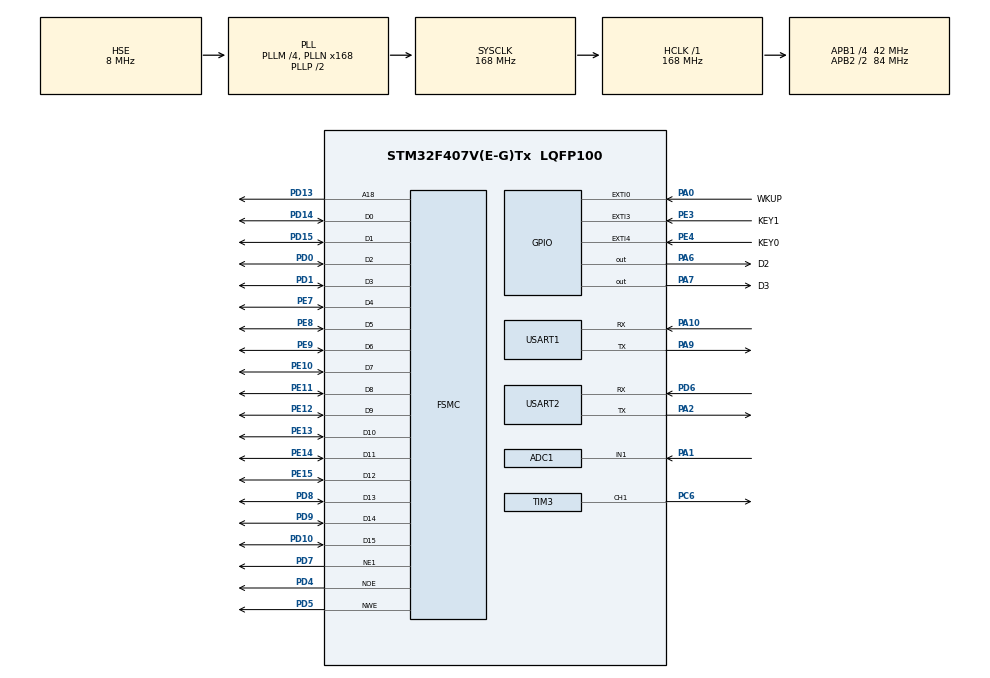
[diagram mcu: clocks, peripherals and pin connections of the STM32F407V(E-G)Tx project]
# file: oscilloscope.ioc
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ADC1.Channel-0\#ChannelRegularConversion=ADC_CHANNEL_1
ADC1.ContinuousConvMode=DISABLE
ADC1.DMAContinuousRequests=ENABLE
ADC1.DiscontinuousConvMode=DISABLE
ADC1.EOCSelection=ADC_EOC_SINGLE_CONV
ADC1.EnableAnalogWatchDog=true
ADC1.ExternalTrigConv=ADC_EXTERNALTRIGCONV_T2_TRGO
ADC1.HighThreshold=4095
ADC1.ITMode=ENABLE
ADC1.InjNumberOfConversion=0
ADC1.NbrOfConversion=1
ADC1.NbrOfConversionFlag=1
ADC1.Rank-0\#ChannelRegularConversion=1
ADC1.SamplingTime-0\#ChannelRegularConversion=ADC_SAMPLETIME_3CYCLES
ADC1.ScanConvMode=DISABLE
ADC1.WatchdogChannel=ADC_CHANNEL_1
ADC1.master=1
Dma.ADC1.1.Direction=DMA_PERIPH_TO_MEMORY
Dma.ADC1.1.FIFOMode=DMA_FIFOMODE_DISABLE
Dma.ADC1.1.Instance=DMA2_Stream0
Dma.ADC1.1.MemDataAlignment=DMA_MDATAALIGN_HALFWORD
Dma.ADC1.1.MemInc=DMA_MINC_ENABLE
Dma.ADC1.1.Mode=DMA_CIRCULAR
Dma.ADC1.1.PeriphDataAlignment=DMA_PDATAALIGN_HALFWORD
Dma.ADC1.1.PeriphInc=DMA_PINC_DISABLE
Dma.ADC1.1.Priority=DMA_PRIORITY_VERY_HIGH
Dma.Request0=TIM3_CH1/TRIG
Dma.Request1=ADC1
Dma.TIM3_CH1/TRIG.0.Direction=DMA_MEMORY_TO_PERIPH
Dma.TIM3_CH1/TRIG.0.FIFOMode=DMA_FIFOMODE_DISABLE
Dma.TIM3_CH1/TRIG.0.Instance=DMA1_Stream4
Dma.TIM3_CH1/TRIG.0.MemDataAlignment=DMA_MDATAALIGN_HALFWORD
Dma.TIM3_CH1/TRIG.0.MemInc=DMA_MINC_ENABLE
Dma.TIM3_CH1/TRIG.0.Mode=DMA_CIRCULAR
Dma.TIM3_CH1/TRIG.0.PeriphDataAlignment=DMA_PDATAALIGN_HALFWORD
Dma.TIM3_CH1/TRIG.0.PeriphInc=DMA_PINC_DISABLE
Dma.TIM3_CH1/TRIG.0.Priority=DMA_PRIORITY_LOW
Mcu.Family=STM32F4
Mcu.Name=STM32F407V(E-G)Tx
Mcu.Package=LQFP100
NVIC.ADC_IRQn=true\:1\:0\:true\:false\:true\:true\:true
NVIC.DMA1_Stream4_IRQn=true\:0\:0\:true\:false\:true\:false\:true
NVIC.DMA2_Stream0_IRQn=true\:1\:0\:true\:false\:true\:false\:true
NVIC.EXTI0_IRQn=true\:0\:0\:false\:false\:true\:true\:true
NVIC.EXTI3_IRQn=true\:0\:0\:false\:false\:true\:true\:true
NVIC.EXTI4_IRQn=true\:0\:0\:false\:false\:true\:true\:true
NVIC.PriorityGroup=NVIC_PRIORITYGROUP_2
NVIC.TIM2_IRQn=true\:1\:0\:true\:false\:true\:true\:true
NVIC.USART1_IRQn=true\:1\:0\:true\:false\:true\:true\:true
NVIC.USART2_IRQn=true\:1\:0\:true\:false\:true\:true\:true
PA0-WKUP.GPIO_Label=WKUP
PA0-WKUP.GPIO_PuPd=GPIO_PULLDOWN
PA0-WKUP.Signal=GPXTI0
PA1.Signal=ADCx_IN1
PA10.Mode=Asynchronous
PA10.Signal=USART1_RX
PA13.Mode=Serial_Wire
PA13.Signal=SYS_JTMS-SWDIO
PA14.Mode=Serial_Wire
PA14.Signal=SYS_JTCK-SWCLK
PA2.Mode=Asynchronous
PA2.Signal=USART2_TX
PA6.GPIO_Label=D2
PA6.Signal=GPIO_Output
PA7.GPIO_Label=D3
PA7.Signal=GPIO_Output
PA9.Mode=Asynchronous
PA9.Signal=USART1_TX
PC6.GPIO_PuPd=GPIO_PULLUP
PC6.GPIO_Speed=GPIO_SPEED_FREQ_HIGH
PC6.Signal=S_TIM3_CH1
PD0.Mode=16b-d1
PD0.Signal=FSMC_D2
PD1.Mode=16b-d1
PD1.Signal=FSMC_D3
PD10.Mode=16b-d1
PD10.Signal=FSMC_D15
PD13.Mode=A18_1
PD13.Signal=FSMC_A18
PD14.Mode=16b-d1
PD14.Signal=FSMC_D0
PD15.Mode=16b-d1
PD15.Signal=FSMC_D1
PD4.Mode=Lcd1
PD4.Signal=FSMC_NOE
PD5.Mode=Lcd1
PD5.Signal=FSMC_NWE
PD6.Mode=Asynchronous
PD6.Signal=USART2_RX
PD7.Mode=NorPsramChipSelect1_1
PD7.Signal=FSMC_NE1
PD8.Mode=16b-d1
PD8.Signal=FSMC_D13
PD9.Mode=16b-d1
PD9.Signal=FSMC_D14
PE10.Mode=16b-d1
PE10.Signal=FSMC_D7
PE11.Mode=16b-d1
PE11.Signal=FSMC_D8
PE12.Mode=16b-d1
PE12.Signal=FSMC_D9
PE13.Mode=16b-d1
PE13.Signal=FSMC_D10
PE14.Mode=16b-d1
PE14.Signal=FSMC_D11
PE15.Mode=16b-d1
PE15.Signal=FSMC_D12
PE3.GPIO_Label=KEY1
PE3.GPIO_PuPd=GPIO_PULLUP
PE3.Signal=GPXTI3
PE4.GPIO_Label=KEY0
PE4.GPIO_PuPd=GPIO_PULLUP
PE4.Signal=GPXTI4
PE7.Mode=16b-d1
PE7.Signal=FSMC_D4
PE8.Mode=16b-d1
PE8.Signal=FSMC_D5
PE9.Mode=16b-d1
PE9.Signal=FSMC_D6
PH0-OSC_IN.Mode=HSE-External-Oscillator
PH0-OSC_IN.Signal=RCC_OSC_IN
PH1-OSC_OUT.Mode=HSE-External-Oscillator
PH1-OSC_OUT.Signal=RCC_OSC_OUT
ProjectManager.HeapSize=0x200
ProjectManager.StackSize=0x400
ProjectManager.TargetToolchain=MDK-ARM V5.27
RCC.48MHZClocksFreq_Value=84000000
RCC.AHBFreq_Value=168000000
RCC.APB1CLKDivider=RCC_HCLK_DIV4
RCC.APB1Freq_Value=42000000
RCC.APB1TimFreq_Value=84000000
RCC.APB2CLKDivider=RCC_HCLK_DIV2
RCC.APB2Freq_Value=84000000
RCC.APB2TimFreq_Value=168000000
RCC.CortexFreq_Value=168000000
RCC.HCLKFreq_Value=168000000
RCC.HSE_VALUE=8000000
RCC.HSI_VALUE=16000000
RCC.LSE_VALUE=32768
RCC.PLLM=4
RCC.PLLN=168
RCC.PLLSourceVirtual=RCC_PLLSOURCE_HSE
RCC.SYSCLKFreq_VALUE=168000000
RCC.SYSCLKSource=RCC_SYSCLKSOURCE_PLLCLK
RCC.VCOOutputFreq_Value=336000000
SH.ADCx_IN1.0=ADC1_IN1,IN1
SH.S_TIM3_CH1.0=TIM3_CH1,PWM Generation1 CH1
TIM2.Period=32-1
TIM2.Prescaler=42-1
TIM2.TIM_MasterOutputTrigger=TIM_TRGO_UPDATE
TIM3.Channel-PWM\ Generation1\ CH1=TIM_CHANNEL_1
TIM3.OCPolarity_1=TIM_OCPOLARITY_HIGH
TIM3.Period=1000-1
TIM3.Prescaler=84-1
TIM3.Pulse-PWM\ Generation1\ CH1=100
TIM6.Prescaler=168-1
USART1.VirtualMode=VM_ASYNC
USART2.VirtualMode=VM_ASYNC
VP_TIM2_VS_ClockSourceINT.Mode=Internal
VP_TIM3_VS_ClockSourceINT.Mode=Internal
VP_TIM6_VS_ClockSourceINT.Mode=Enable_Timer
board=custom

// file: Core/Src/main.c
/* USER CODE BEGIN Header */
/**
  ******************************************************************************
  * @file           : main.c
  * @brief          : Main program body
  ******************************************************************************
  * @attention
  *
  * <h2><center>&copy; Copyright (c) 2021 STMicroelectronics.
  * All rights reserved.</center></h2>
  *
  * This software component is licensed by ST under BSD 3-Clause license,
  * the "License"; You may not use this file except in compliance with the
  * License. You may obtain a copy of the License at:
  *                        opensource.org/licenses/BSD-3-Clause
  *
  ******************************************************************************
  */
/* USER CODE END Header */
#include "main.h"
#include "adc.h"
#include "dma.h"
#include "tim.h"
#include "usart.h"
#include "gpio.h"
#include "fsmc.h"

/* USER CODE BEGIN Includes */
#include "stdio.h"
#include "string.h"
#include "fsmc.h"
#include "arm_math.h"                  //添加头文件
/* USER CODE END Includes */

/* USER CODE BEGIN PTD */
#define BYTE0(dwTemp)       ( *( (char *)(&dwTemp)	  ) )
#define BYTE1(dwTemp)       ( *( (char *)(&dwTemp) + 1) )
#define BYTE2(dwTemp)       ( *( (char *)(&dwTemp) + 2) )
#define BYTE3(dwTemp)       ( *( (char *)(&dwTemp) + 3) )

#define  FFT_LENGTH        1024        //FFT长度，默认是1024点FFT
#define  SAMPLE_FREQ       1024        //采样频率

uint8_t testdatatosend[50];
void TestSendData(uint8_t *dataToSend , uint8_t length);
void Test_Send_User(uint16_t data1, uint16_t data2, uint16_t data3,uint16_t data4,uint16_t data5,uint16_t data6,uint16_t data7,uint16_t data8,uint16_t data9,uint16_t data10)	;

void ENDSend(uint8_t k);

void adc_line(void);
void adc_line_clean(void);

float Get_vpp(u16 *buf);	   //获取峰峰值
/* USER CODE END PTD */

/* USER CODE BEGIN PM */
uint8_t aRxBuffer; //接收中断缓冲

//usart1发送和接收数组
uint8_t usart1_txbuf[256];
uint8_t usart1_rxbuf[512];
uint8_t usart1_rxone[1];
uint8_t usart1_rxcounter;

uint16_t adcBuf[2]={0,0};    //ad的值
float adcvcc[2];
int i;

int j;

uint16_t data[40]={500,500,500,500};

__IO uint16_t ADC_ConvertedValue[1024];
__IO float ADC_Volt;

float ADC_Value[1024] ;

u32 max_data=2048; //触发电平
vu32 temp=0; //频率输出
float vpp=0;
int freq=0;
int timeshow=500;
u8  Vpp_buff[20] = {0};//sprintf数据输出
u8  freq_buff[20] = {0};//sprintf数据输出
u8  time_buff[20] = {0};//sprintf数据输出
int time_flag=0;
int once=0;

int mode1=1;     //0 stop   1 run
int mode2=1;     //0 down    1 up
int mode3=115;   //触发电平
int mode4=2;    //0 auto   1once  2pt
int mode5=0;   //垂直位移
int mode6=0;    //0 DC 1 AC 2 GND

float timebase=32;
int time_i=6;     //时基计数

extern int key0,key1,key2;
/* USER CODE END PM */

void SystemClock_Config(void);

int main(void)
{
  /* USER CODE BEGIN 1 */
  u8 x=0;
	u8 lcd_id[12];				//存放LCD ID字符串
  /* USER CODE END 1 */

  /* MCU Configuration--------------------------------------------------------*/

  /* Reset of all peripherals, Initializes the Flash interface and the Systick. */
  HAL_Init();

  /* Configure the system clock */
  SystemClock_Config();

  /* Initialize all configured peripherals */
  MX_GPIO_Init();
  MX_DMA_Init();
  MX_USART1_UART_Init();
  MX_USART2_UART_Init();
  MX_ADC1_Init();
  MX_TIM3_Init();
  MX_FSMC_Init();
  MX_TIM6_Init();
  MX_TIM2_Init();
  /* USER CODE BEGIN 2 */
	HAL_UART_Receive_IT(&huart1, (uint8_t *)&aRxBuffer, 1);
	HAL_GPIO_WritePin(GPIOA,GPIO_PIN_6,GPIO_PIN_SET);

	 TFTLCD_Init();
	LCD_Clear(BLACK);
	Lcd_DrawNetwork();

	BACK_COLOR=BLACK;
	LCD_ShowString_COLOR(0,226,120,12,12,"Time:",WHITE);
	LCD_ShowString_COLOR(80,226,120,12,12,"V= 1v",WHITE);
	LCD_ShowString_COLOR(120,226,120,12,12,"Freq:",WHITE);
	LCD_ShowString(200,226,120,12,12,"Vpp:");

	BACK_COLOR=GRAYBLUE;
	LCD_ShowString_COLOR(295,15,200,12,12," run",GREEN);
	LCD_ShowString_COLOR(295,55,200,12,12,"rise",BLACK);
	LCD_ShowString_COLOR(295,95,200,12,12,"trig",BLACK);
	LCD_ShowString_COLOR(295,135,200,12,12," nor",BLACK);
	LCD_ShowString_COLOR(295,175,200,12,12,"move",BLACK);
	LCD_ShowString_COLOR(295,215,200,12,12,"DC",BLACK);
	 BACK_COLOR=GREEN;
	 LCD_ShowString_COLOR(289,mode3-5,200,12,12,"<",BLACK);
	 LCD_DrawLine_color(0,mode3,288,mode3,GREEN);

	 LCD_DrawLine_color(0,mode5+120,288,mode5+120,LIGHTBLUE);

	LCD_DrawLine_color(295,30,320,30,GREEN);
  //printf("ok\r\n");
	//HAL_TIM_Base_Start(&htim2);//打开定时器
//	HAL_TIM_Base_Start_IT(&htim2);//打开定时器中断

	  HAL_TIM_OC_Start_DMA(&htim3,TIM_CHANNEL_1,(uint32_t*)data,4);
		HAL_TIM_Base_Start(&htim2);
  	HAL_ADC_Start_DMA(&hadc1, (uint32_t*)&ADC_ConvertedValue, 1024);

	sprintf((char*)lcd_id,"LCD ID:%04X",lcddev.id);//将LCD ID打印到lcd_id数组。

  int i,j=0;
  /* USER CODE END 2 */

  /* Infinite loop */
  while (1)
  {

    /* USER CODE BEGIN 3 */
//		//匿名上位机+HMI串口屏
//		for(j=0;j<20;j++)
//		{printf("add 2,0,255");
//		ENDSend(0xff);
//		Test_Send_User(1,2,3,4,5,6,7,8,9,10);
//    HAL_Delay(50);
//		}
//		for(j=0;j<20;j++)
//		{printf("add 2,0,100");
//		ENDSend(0xff);
//		Test_Send_User(1,2,3,4,5,6,7,8,9,10);
//    HAL_Delay(50);
//		}

//	//adc测试代码
//	for(i=0;i<2;i++)
//  {
//		HAL_ADC_Start(&hadc1);
//    HAL_ADC_PollForConversion(&hadc1,0xffff);
//    adcBuf[i]=HAL_ADC_GetValue(&hadc1);
//		adcvcc[i]=adcBuf[i]*3.3f/4096;
//    printf("------ch:%d--%.2f-------\r\n",i,adcvcc[i]);
//   }
//	 HAL_ADC_Stop(&hadc1);
//	 HAL_Delay(1);
     vpp=Get_vpp(ADC_ConvertedValue);
     BACK_COLOR=BLACK;
     sprintf((char*)Vpp_buff,"Vpp:%0.3fV",vpp);
     LCD_ShowString_COLOR(200,226,120,12,12,Vpp_buff,WHITE);

		 sprintf((char*)freq_buff,"Freq:%6dHz",freq);
     LCD_ShowString_COLOR(120,226,120,12,12,freq_buff,WHITE);

		 sprintf((char*)time_buff,"Time:%5dus/div",timeshow);
		 LCD_ShowString_COLOR(0,226,120,12,12,time_buff,WHITE);

     if(key0%6==1&&key1==1)
		 {
			 if(mode1==1)
			 {
					BACK_COLOR=GRAYBLUE;
					LCD_ShowString_COLOR(295,15,200,12,12,"stop",RED);
					mode1=0;
			 }
			 else
			 {
					BACK_COLOR=GRAYBLUE;
					LCD_ShowString_COLOR(295,15,200,12,12," run",GREEN);
				  Lcd_DrawNetwork();
					mode1=1;
			 }
			 key1=0;
		 }

  }
  /* USER CODE END 3 */
}

void SystemClock_Config(void)
{
  RCC_OscInitTypeDef RCC_OscInitStruct = {0};
  RCC_ClkInitTypeDef RCC_ClkInitStruct = {0};

  /** Configure the main internal regulator output voltage
  */
  __HAL_RCC_PWR_CLK_ENABLE();
  __HAL_PWR_VOLTAGESCALING_CONFIG(PWR_REGULATOR_VOLTAGE_SCALE1);
  /** Initializes the RCC Oscillators according to the specified parameters
  * in the RCC_OscInitTypeDef structure.
  */
  RCC_OscInitStruct.OscillatorType = RCC_OSCILLATORTYPE_HSE;
  RCC_OscInitStruct.HSEState = RCC_HSE_ON;
  RCC_OscInitStruct.PLL.PLLState = RCC_PLL_ON;
  RCC_OscInitStruct.PLL.PLLSource = RCC_PLLSOURCE_HSE;
  RCC_OscInitStruct.PLL.PLLM = 4;
  RCC_OscInitStruct.PLL.PLLN = 168;
  RCC_OscInitStruct.PLL.PLLP = RCC_PLLP_DIV2;
  RCC_OscInitStruct.PLL.PLLQ = 4;
  if (HAL_RCC_OscConfig(&RCC_OscInitStruct) != HAL_OK)
  {
    Error_Handler();
  }
  /** Initializes the CPU, AHB and APB buses clocks
  */
  RCC_ClkInitStruct.ClockType = RCC_CLOCKTYPE_HCLK|RCC_CLOCKTYPE_SYSCLK
                              |RCC_CLOCKTYPE_PCLK1|RCC_CLOCKTYPE_PCLK2;
  RCC_ClkInitStruct.SYSCLKSource = RCC_SYSCLKSOURCE_PLLCLK;
  RCC_ClkInitStruct.AHBCLKDivider = RCC_SYSCLK_DIV1;
  RCC_ClkInitStruct.APB1CLKDivider = RCC_HCLK_DIV4;
  RCC_ClkInitStruct.APB2CLKDivider = RCC_HCLK_DIV2;

  if (HAL_RCC_ClockConfig(&RCC_ClkInitStruct, FLASH_LATENCY_5) != HAL_OK)
  {
    Error_Handler();
  }
}

/* USER CODE BEGIN 4 */
void TestSendData(uint8_t *dataToSend , uint8_t length)
{
	HAL_UART_Transmit(&huart2, (uint8_t *)&testdatatosend, length, 0xffff);
}

void Test_Send_User(uint16_t data1, uint16_t data2, uint16_t data3,uint16_t data4,uint16_t data5,uint16_t data6,uint16_t data7,uint16_t data8,uint16_t data9,uint16_t data10)
{
	uint8_t _cnt=0;

	testdatatosend[_cnt++]=0xAA;
	testdatatosend[_cnt++]=0x05;
	testdatatosend[_cnt++]=0xAF;
	testdatatosend[_cnt++]=0xF1;
	testdatatosend[_cnt++]=0;

	testdatatosend[_cnt++]=BYTE1(data1);
	testdatatosend[_cnt++]=BYTE0(data1);

	testdatatosend[_cnt++]=BYTE1(data2);
	testdatatosend[_cnt++]=BYTE0(data2);

	testdatatosend[_cnt++]=BYTE1(data3);
	testdatatosend[_cnt++]=BYTE0(data3);

	testdatatosend[_cnt++]=BYTE1(data4);
	testdatatosend[_cnt++]=BYTE0(data4);

	testdatatosend[_cnt++]=BYTE1(data5);
	testdatatosend[_cnt++]=BYTE0(data5);

	testdatatosend[_cnt++]=BYTE1(data6);
	testdatatosend[_cnt++]=BYTE0(data6);

	testdatatosend[_cnt++]=BYTE1(data7);
	testdatatosend[_cnt++]=BYTE0(data7);

	testdatatosend[_cnt++]=BYTE1(data8);
	testdatatosend[_cnt++]=BYTE0(data8);

	testdatatosend[_cnt++]=BYTE1(data9);
	testdatatosend[_cnt++]=BYTE0(data9);

	testdatatosend[_cnt++]=BYTE1(data10);
	testdatatosend[_cnt++]=BYTE0(data10);

	testdatatosend[4] = _cnt-5;

	uint8_t sum = 0;
	for(uint8_t i=0;i<_cnt;i++)
		sum += testdatatosend[i];

	testdatatosend[_cnt++]=sum;

	TestSendData(testdatatosend, _cnt);
}

void ENDSend(uint8_t k)           //字节发送函数
{
    uint8_t i;
    for(i=0;i<3;i++)
    {
           if(k!=0)
          {
           HAL_UART_Transmit(&huart1,&k,1,1000);    //发送一个字节
           HAL_Delay(10);
           while((__HAL_UART_GET_FLAG(&huart1,UART_FLAG_TXE)==RESET)){};   //等待发送结束
           HAL_Delay(10);
           }
    }
}

void HAL_UART_RxCpltCallback(UART_HandleTypeDef *huart)
{
	if(huart->Instance == USART1)	// 判断是由哪个串口触发的中断
	{
		//将接收到的数据放入接收usart1接收数组
		usart1_rxbuf[usart1_rxcounter] = usart1_rxone[0];
		usart1_rxcounter++;	//接收数量＋1
		if(usart1_rxone[0]==0x30)
		{
		  HAL_GPIO_WritePin(GPIOA,GPIO_PIN_6,GPIO_PIN_SET);
		}
		if(usart1_rxone[0]==0x31)
		{
		  HAL_GPIO_WritePin(GPIOA,GPIO_PIN_6,GPIO_PIN_RESET);
		}
		//重新使能串口1接收中断
		HAL_UART_Receive_IT(&huart1,usart1_rxone,1);
	}
}

void adc_line()
{
	static u16 Ypos1 = 0,Ypos2 = 0;
	static vu32 min_data=0;//buf[1];
	static vu32 n=0,con_t=0,con_t1=0;
   static	u16 i = 0,y=0,t=0;
	POINT_COLOR = RED;
	  for(n = 0;n<1024;n++)
      {
         if(ADC_ConvertedValue[n] > max_data&&ADC_ConvertedValue[n+3] < max_data)
         {
            con_t=n;
            break;
         }
      }
      for(n = con_t+3;n<1024;n++)
      {
         if(ADC_ConvertedValue[n] > max_data&&ADC_ConvertedValue[n+3] < max_data)
         {
            con_t1=n;
            break;
         }
      }
      temp=con_t1- con_t;
			freq=(temp*timebase)*0.5;

		 if(key0%6==2&&key1==1)
		 {
		    if(mode2==1)
			 {
					BACK_COLOR=GRAYBLUE;
					LCD_ShowString_COLOR(295,55,200,12,12,"down",BLACK);
					mode2=0;
			 }
			 else
			 {
					BACK_COLOR=GRAYBLUE;
					LCD_ShowString_COLOR(295,55,200,12,12,"rise",BLACK);
					mode2=1;
			 }
			 key1=0;
		 }
		 else if(key0%6==4&&key1==1)
		 {
		    if(mode4==0)
				{
				   BACK_COLOR=GRAYBLUE;
					 LCD_ShowString_COLOR(295,135,200,12,12,"once",BLACK);
					 mode4=1;
				}
				else if(mode4==1)
				{
				   BACK_COLOR=GRAYBLUE;
					 LCD_ShowString_COLOR(295,135,200,12,12," nor",BLACK);
					 mode4=2;
				}
				else
				{
					 BACK_COLOR=GRAYBLUE;
					 LCD_ShowString_COLOR(295,135,200,12,12,"auto",BLACK);
					 mode4=0;

				}
		    key1=0;
		 }
			else if(key0%6==0)
     {
			  if(time_flag==0)
				{
		     time_i=key1-key2+6;
			   if(time_i==1)
				 {
				    timebase=0.64;
					 TIM2->ARR = timebase - 1;
					  timeshow=10;
				 }
				 else if(time_i==2)
				 {
				    timebase=1.28;
					 TIM2->ARR = timebase - 1;
					 timeshow=20;
				 }
				 else if(time_i==3)
				 {
				    timebase=3.2;
					 TIM2->ARR = timebase - 1;
					 timeshow=50;
				 }
				 else if(time_i==4)
				 {
				    timebase=6.4;
					 TIM2->ARR = timebase - 1;
					  timeshow=100;
				 }
				 else if(time_i==5)
				 {
				    timebase=12.8;
					 TIM2->ARR = timebase - 1;
					 timeshow=200;
				 }
				 else if(time_i==6)
				 {
				    timebase=32;
					 TIM2->ARR = timebase - 1;
					 timeshow=500;
				 }
				 else if(time_i==7)
				 {
				    timebase=64;
					 TIM2->ARR = timebase - 1;
					  timeshow=1000;
				 }
				 else if(time_i==8)
				 {
				    timebase=128;
					 TIM2->ARR = timebase - 1;
					 timeshow=2000;
				 }
				 else if(time_i==9)
				 {
				    timebase=320;
					 TIM2->ARR = timebase - 1;
					 timeshow=5000;
				 }
				 else if(time_i==10)
				 {
				    timebase=640;
					 TIM2->ARR = timebase - 1;
					  timeshow=10000;
				 }
				 else if(time_i==11)
				 {
				    timebase=1280;
					 TIM2->ARR = timebase - 1;
					 timeshow=20000;
				 }
				 else if(time_i==12)
				 {
				    timebase=3200;
					 TIM2->ARR = timebase - 1;
					 timeshow=50000;
				 }
				 else if(time_i==13)
				 {
				    timebase=6400;
					 TIM2->ARR = timebase - 1;
					  timeshow=100000;
				 }
				 else if(time_i==14)
				 {
				    timebase=12800;
					 TIM2->ARR = timebase - 1;
					  timeshow=200000;
				 }
				 else if(time_i==15)
				 {
				    timebase=32000;
					 TIM2->ARR = timebase - 1;
					  timeshow=500000;
				 }
				 else if(time_i==16)
				 {
				    timebase=64000;
					 TIM2->ARR = timebase - 1;
					   timeshow=1000000;
				 }
				 else if(time_i==17)
				 {
				    timebase=128000;
					 TIM2->ARR = timebase - 1;
					  timeshow=2000000;
				 }
				 else if(time_i==18)
				 {
				    timebase=320000;
					 TIM2->ARR = timebase - 1;
					  timeshow=5000000;
				 }
				 else if(time_i==19)
				 {
				    timebase=640000;
					 TIM2->ARR = timebase - 1;
					  timeshow=10000000;

				 }
				 else if(time_i==20)
				 {
				    timebase=1280000;
					 TIM2->ARR = timebase - 1;
					 timeshow=20000000;
				 }
				 else if(time_i==21)
				 {
				    timebase=3200000;
					 TIM2->ARR = timebase - 1;
					 timeshow=50000000;
				 }
				 if(time_i>21)
					 time_i=21;
				 if(time_i<i)
					 time_i=1;
				 time_flag=1;
			 }
		}
		 else if(key0%6==3)
		 {
		    if(key1==1)
				{
					adc_line_clean();
	        Lcd_DrawNetwork();
					LCD_ShowString_COLOR(289,mode3-5,200,12,12," ",BLACK);
		      LCD_DrawLine_color(0,mode3,288,mode3,BLACK);
					mode3=mode3+5;
					BACK_COLOR=GREEN;
	        LCD_ShowString_COLOR(289,mode3-5,200,12,12,"<",BLACK);
		      LCD_DrawLine_color(0,mode3,288,mode3,GREEN);
					key1=0;
				}
		    if(key2==1)
				{
					adc_line_clean();
	        Lcd_DrawNetwork();
					LCD_ShowString_COLOR(289,mode3-5,200,12,12," ",BLACK);
		      LCD_DrawLine_color(0,mode3,288,mode3,BLACK);
				  mode3=mode3-5;
					BACK_COLOR=GREEN;
	        LCD_ShowString_COLOR(289,mode3-5,200,12,12,"<",BLACK);
		      LCD_DrawLine_color(0,mode3,288,mode3,GREEN);
					key2=0;
				}

		 }

		 	else if(key0%6==5)
		{
		   if(key1==1)
			 {
				 adc_line_clean();
	        Lcd_DrawNetwork();
			   LCD_DrawLine_color(0,mode5+120,288,mode5+120,BLACK);
				 mode5=mode5+5;
				 LCD_DrawLine_color(0,mode5+120,288,mode5+120,LIGHTBLUE);
				 key1=0;
			 }
			 if(key2==1)
			 {
				 adc_line_clean();
	        Lcd_DrawNetwork();
			   LCD_DrawLine_color(0,mode5+120,288,mode5+120,BLACK);
				 mode5=mode5-5;
				 LCD_DrawLine_color(0,mode5+120,288,mode5+120,LIGHTBLUE);
				 key2=0;
			 }

		}

		if(mode4==0)
		{
			once=0;
			for(y=0;y<750;)
			{

				for(i=0+y;i<288+y;i++)
				{
					if(t==160||ADC_Value[i]==120)
					{
						LCD_Fast_DrawPoint(t++,ADC_Value[i],BROWN);
					}
					else
						LCD_Fast_DrawPoint(t++,ADC_Value[i],BLACK);
				}
				t=0;
				i=i-1;
				y=y+10;
				for(i=0+y;i<288+y;i++)
				{
					  if(mode1==1)
						{
							ADC_Value[i] =120-((ADC_ConvertedValue[i] * 3.3 / 4095)*30+mode5);
						  LCD_Fast_DrawPoint(t++,ADC_Value[i],POINT_COLOR);
						}
				}
				t=0;

			}
	  }
		if(mode4==2&&mode2==1)
		{
			once=0;
			for(n = 160;n<1024;n++)
      {
        if((120-(ADC_ConvertedValue[n]* 3.3 / 4095)*30)>mode3&&(120-(ADC_ConvertedValue[n+1]* 3.3 / 4095)*30)<mode3)      //down
				{
					 t=0;
						adc_line_clean();
					  for(i=n-160;i<n+128;i++)
					 {
					   ADC_Value[t] =120-((ADC_ConvertedValue[i] * 3.3 / 4095)*30)+mode5;
		         LCD_Fast_DrawPoint(t++,ADC_Value[t],POINT_COLOR);
					 }
            break;
         }
      }
		}
		 if(mode4==2&&mode2==0)
		{
			once=0;
			for(n = 160;n<1024;n++)
      {
        if((120-(ADC_ConvertedValue[n]* 3.3 / 4095)*30)<mode3&&(120-(ADC_ConvertedValue[n+1]* 3.3 / 4095)*30)>mode3)      //up
				{
					 t=0;
					 adc_line_clean();
					  for(i=n-160;i<n+128;i++)
					 {
					   ADC_Value[t] =120-((ADC_ConvertedValue[i] * 3.3 / 4095)*30)+mode5;
		         LCD_Fast_DrawPoint(t++,ADC_Value[t],POINT_COLOR);
					 }
            break;
         }

      }
		}

			if(once==0&&mode4==1&&mode2==0)
		{
			for(n = 160;n<1024;n++)
      {
        if(ADC_ConvertedValue[n]>mode3&&ADC_ConvertedValue[n+1]<mode3)      //down
				{
					 t=0;
						adc_line_clean();
					  for(i=n-160;i<n+128;i++)
					 {
					   ADC_Value[t] =120-((ADC_ConvertedValue[i] * 3.3 / 4095)*30)+mode5;
		         LCD_Fast_DrawPoint(t++,ADC_Value[t],POINT_COLOR);
					 }
					 once=1;
            break;
         }
      }
		}
		 if(once==0&&mode4==1&&mode2==1)
		{
			for(n = 160;n<1024;n++)
      {
        if(ADC_ConvertedValue[n]<mode3&&ADC_ConvertedValue[n+1]>mode3)      //up
				{
					 t=0;
					 adc_line_clean();
					  for(i=n-160;i<n+128;i++)
					 {
					   ADC_Value[t] =120-((ADC_ConvertedValue[i] * 3.3 / 4095)*30)+mode5;
		         LCD_Fast_DrawPoint(t++,ADC_Value[t],POINT_COLOR);
					 }
					  once=1;
            break;
         }
      }
		}
}

void adc_line_clean()
{
   for(i=0;i<288;i++)
		{
		if(i==160||ADC_Value[i]==120)
		{
		 LCD_Fast_DrawPoint(i,ADC_Value[i],BROWN);
		}
		else
		LCD_Fast_DrawPoint(i,ADC_Value[i],BLACK);
		}
}

float Get_vpp(u16 *buf)	   //获取峰峰值
{
	u32 max_data=buf[0];
	u32 min_data=buf[0];//buf[1];
	u32 n=0;
	float Vpp=0;
	for(n = 1;n<1024;n++)
	{
		if(buf[n] > max_data)
		{
			max_data = buf[n];
		}
		if(buf[n] < min_data)
	{
			min_data = buf[n];
		}
	}
	Vpp = (float)(max_data - min_data);
	Vpp = Vpp*(3.3/4096);
	return Vpp;
}

/* USER CODE END 4 */

void Error_Handler(void)
{
  __disable_irq();
  while (1)
  {
  }
}

/************************ (C) COPYRIGHT STMicroelectronics *****END OF FILE****/
